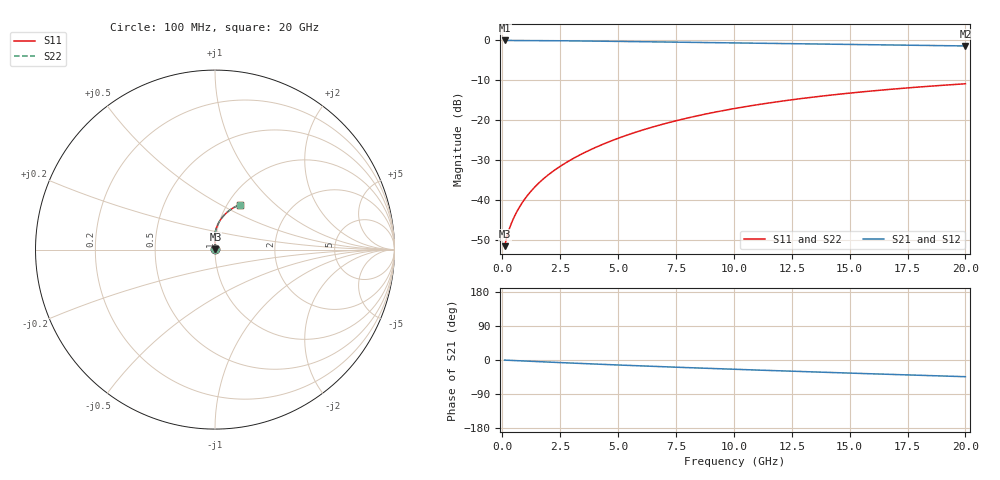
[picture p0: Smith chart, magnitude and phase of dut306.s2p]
! Touchstone file exported from HFSS 2024.1.0
!  File:  C:/UserFiles/LocalFiles/RDL_TSV_Batchsim/temp_RDL_top_306_1779606377.aedt
!  Generated:  03:08:48 PM May 24, 2026
!  Design:  RDL_top
!  Project:  temp_RDL_top_306_1779606377
!  Setup:  Setup1
!  Solution:  Sweep
! Variables:
!  dtsv = 10.80580581um
!  hbump = 3um
!  htsv = 92.89um
!  ldown = 100um
!  lrdl = 695.42um
!  p = 40
!  p1 = 48.03um
!  rhole = 1um
!  t = 450um
!  tdown = 3.915915916um
!  trdl = 4.14um
!  wdown = 15.38538539um
!  wrdl = 29.02um
# GHz S MA R 50.000000
! Terminal data exported
! Port[1] = Box2_T1
! Port[2] = Box2_T2
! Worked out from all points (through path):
!   200 points, 100 MHz to 20 GHz, reference 50 ohm
!   highest |S21| = -0.02 dB at 100 MHz (marker M1); lowest = -1.4 dB at 20 GHz (marker M2)
!   group delay of S21, straight-line fit = 6.02 ps
!   lowest |S11| = -51.5 dB at 100 MHz (marker M3), VSWR 1.01, Z = 50.2 + j0.132 ohm
!   |S11| at or under -10 dB: start of sweep to end of sweep
!   |S22| runs from -51.5 to -10.9 dB; largest |S21 - S12| = 1.1e-14
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0.1  0.002661 29.5  0.9977 -0.3  0.9977 -0.3  0.002661 29.5
! Gamma 0 0 0 0
! Port Impedance 50 0 50 0
0.2  0.003513 43.9  0.9974 -0.6  0.9974 -0.6  0.003513 43.9
0.3  0.004366 52.0  0.9971 -0.9  0.9971 -0.9  0.004366 52.0
0.5  0.006056 62.4  0.9967 -1.4  0.9967 -1.4  0.006055 62.4
0.6  0.006928 66.1  0.9966 -1.7  0.9966 -1.7  0.006928 66.2
0.8  0.008743 71.8  0.9961 -2.2  0.9961 -2.2  0.008743 71.8
1  0.01063 75.8  0.9957 -2.8  0.9957 -2.8  0.01063 75.8
1.2  0.01259 78.8  0.9951 -3.3  0.9951 -3.3  0.01259 78.8
1.7  0.01771 83.8  0.9933 -4.7  0.9933 -4.7  0.01771 83.9
2.2  0.02314 87.0  0.991 -6.0  0.991 -6.0  0.02315 87.0
2.8  0.03009 89.4  0.9876 -7.6  0.9876 -7.6  0.0301 89.4
3.5  0.03879 91.0  0.9829 -9.4  0.9829 -9.4  0.03881 91.1
4.2  0.04813 91.8  0.9776 -11.2  0.9776 -11.2  0.04817 91.8
5  0.05952 91.9  0.9712 -13.2  0.9712 -13.2  0.05957 92.0
5.9  0.07309 91.3  0.9635 -15.3  0.9635 -15.3  0.07316 91.4
6.8  0.08729 90.2  0.9556 -17.4  0.9556 -17.4  0.08738 90.2
8.4  0.1134 87.2  0.9417 -21.0  0.9417 -21.0  0.1136 87.3
10.1  0.1416 83.5  0.9272 -24.6  0.9272 -24.6  0.1418 83.5
11.7  0.1678 79.8  0.914 -28.0  0.914 -28.0  0.168 79.8
13.4  0.1947 75.7  0.9005 -31.4  0.9005 -31.4  0.1949 75.7
16.7  0.2433 68.0  0.8755 -37.9  0.8755 -37.9  0.2436 68.1
20  0.2864 60.8  0.8517 -44.1  0.8517 -44.1  0.2867 60.9
